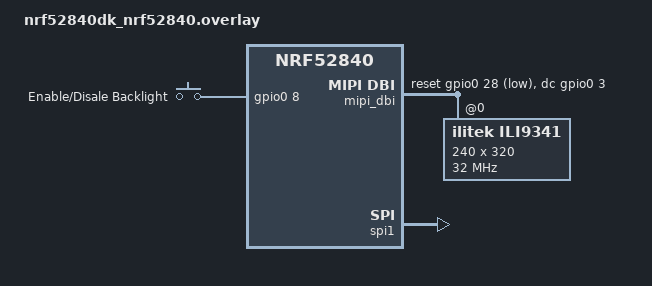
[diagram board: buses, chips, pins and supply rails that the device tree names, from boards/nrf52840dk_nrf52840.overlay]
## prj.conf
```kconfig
CONFIG_GPIO=y

CONFIG_LV_Z_SHELL=y
CONFIG_MAIN_STACK_SIZE=8048

CONFIG_DISPLAY=y
CONFIG_DISPLAY_LOG_LEVEL_ERR=y

CONFIG_LOG=y
CONFIG_SHELL=y

CONFIG_LVGL=y
CONFIG_LV_MEM_CUSTOM=y
CONFIG_LV_USE_LOG=y
CONFIG_LV_USE_LABEL=y
CONFIG_LV_USE_BTN=y
CONFIG_LV_USE_IMG=y
CONFIG_LV_FONT_MONTSERRAT_14=y

CONFIG_LV_Z_MEM_POOL_SIZE=16384

#RTT 
CONFIG_USE_SEGGER_RTT=y
CONFIG_RTT_CONSOLE=y
CONFIG_UART_CONSOLE=n

CONFIG_ILI9341=y

CONFIG_DEBUG_INFO=y

CONFIG_DEBUG=y
CONFIG_DEBUG_OPTIMIZATIONS=y

CONFIG_DEBUG_COREDUMP=y
CONFIG_DEBUG_COREDUMP_BACKEND_LOGGING=y
```

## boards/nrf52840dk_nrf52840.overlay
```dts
#include <zephyr/dt-bindings/mipi_dbi/mipi_dbi.h>
#include <zephyr/dt-bindings/display/ili9xxx.h>
#include <zephyr/dt-bindings/input/input-event-codes.h>

&spi1 {
    status = "okay";
    cs-gpios = <&gpio1 15 GPIO_ACTIVE_LOW>;
};




/{
    chosen{
        zephyr,display = &ili9341;
    };
	
	CUSTOM_PINS_PCB {
        compatible = "gpio-keys";
        backlight:backlight{
            gpios = <&gpio0 8 GPIO_ACTIVE_HIGH >;   /*GPIO PIN P0.08 */
            label = "Enable/Disale Backlight";
        };
        
    };

    
    mipi_dbi {
    compatible = "zephyr,mipi-dbi-spi";
    reset-gpios = <&gpio0 28 GPIO_ACTIVE_LOW>;
    dc-gpios = <&gpio0 3 GPIO_ACTIVE_HIGH>;
	// cmd-data-gpios = <&gpio0 3 GPIO_ACTIVE_LOW>; 


    spi-dev = <&spi1>;
    #address-cells = <1>;
    #size-cells = <0>;

    ili9341: ili9341@0 {
        compatible = "ilitek,ili9341";
        reg = <0>;
        mipi-max-frequency = <32000000>;
       
		// reset-gpios = <&gpio0 28 GPIO_ACTIVE_LOW>;
	
		width = <240>;
		height = <320>;
	
		// pixel-format = "rgb565";
		rotation = <0>;
		// display-inversion = <0>;
	
		ifmode = [40];
		ifctl = [01 00 00];
		pwctrla = [39 2c 00 34 02];
		pwctrlb = [00 8b 30];
		pwseqctrl = [55 01 23 01];
		timctrla = [84 11 7a];
		timctrlb = [00 00];
		pumpratioctrl = [10];
		enable3g = [02];
		etmod = [06];
		gamset = [01];
		frmctr1 = [00 1b];
		disctrl = [0a 82 27 04];
		pwctrl1 = [21];
		pwctrl2 = [10];
		vmctrl1 = [31 3c];
		vmctrl2 = [c0];
	
		pgamctrl = [
			0f 22 1f 0a 0e 06 4d 76 3b 03 0e 04 13 0e 0c
		];
		ngamctrl = [
			0c 23 26 04 10 04 39 24 4b 03 0b 0b 33 37 0f
		];
        status = "okay";
        };
    };
};



/* NCS: 2.5.0 */

// /{
//     chosen{
//         zephyr,display = &ili9341;
//     };
// };

// &spi1 {
//     status = "okay";
//     cs-gpios = <&gpio1 15 GPIO_ACTIVE_LOW>;

//     ili9341: ili9341@0 {
// 		compatible = "ilitek,ili9341";
// 		reg = <0>;
// 		spi-max-frequency = <10000000>;
// 		label = "ILI9341";
	
// 		reset-gpios = <&gpio0 28 GPIO_ACTIVE_LOW>;
// 		cmd-data-gpios = <&gpio0 3 GPIO_ACTIVE_LOW>;
	
// 		width = <240>;
// 		height = <320>;
	
// 		// pixel-format = "rgb565";
// 		rotation = <0>;
// 		// display-inversion = <0>;
	
// 		ifmode = [40];
// 		ifctl = [01 00 00];
// 		pwctrla = [39 2c 00 34 02];
// 		pwctrlb = [00 8b 30];
// 		pwseqctrl = [55 01 23 01];
// 		timctrla = [84 11 7a];
// 		timctrlb = [00 00];
// 		pumpratioctrl = [10];
// 		enable3g = [02];
// 		etmod = [06];
// 		gamset = [01];
// 		frmctr1 = [00 1b];
// 		disctrl = [0a 82 27 04];
// 		pwctrl1 = [21];
// 		pwctrl2 = [10];
// 		vmctrl1 = [31 3c];
// 		vmctrl2 = [c0];
	
// 		pgamctrl = [
// 			0f 22 1f 0a 0e 06 4d 76 3b 03 0e 04 13 0e 0c
// 		];
// 		ngamctrl = [
// 			0c 23 26 04 10 04 39 24 4b 03 0b 0b 33 37 0f
// 		];
// 	};
// };

&pinctrl {
	spi1_default: spi1_default {
		group1 {
			psels = <NRF_PSEL(SPIM_SCK, 0, 31)>,
			        <NRF_PSEL(SPIM_MOSI, 0, 29)>,
			        <NRF_PSEL(SPIM_MISO, 0, 30)>;
		};
	};

	spi1_sleep: spi1_sleep {
		group1 {
			psels = <NRF_PSEL(SPIM_SCK, 0, 31)>,
			        <NRF_PSEL(SPIM_MOSI, 0, 29)>,
			        <NRF_PSEL(SPIM_MISO, 0, 30)>;
			low-power-enable;
		};
	};
};
```

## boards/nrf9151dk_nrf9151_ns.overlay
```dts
#include <zephyr/dt-bindings/mipi_dbi/mipi_dbi.h>
#include <zephyr/dt-bindings/display/ili9xxx.h>
#include <zephyr/dt-bindings/input/input-event-codes.h>





/{
    CUSTOM_PINS_PCB {
        compatible = "gpio-keys";
        backlight:backlight{
            gpios = <&gpio0 8 GPIO_ACTIVE_HIGH >;   /*GPIO PIN P0.08 */
            label = "Enable/Disale Backlight";
        };
        
    };
};


&spi1 {
    status = "okay";
    cs-gpios = <&gpio0 22 GPIO_ACTIVE_LOW>;  //pcb
    pinctrl-names = "default", "sleep";
    pinctrl-0 = <&spi1_default>;
    pinctrl-1 = <&spi1_sleep>;
};





/{
    chosen{
        zephyr,display = &ili9341;
    };

    
    mipi_dbi {
    compatible = "zephyr,mipi-dbi-spi";
    reset-gpios = <&gpio0 7 GPIO_ACTIVE_LOW>;  //pcb
    dc-gpios = <&gpio0 23 GPIO_ACTIVE_HIGH>;  //pcb


    spi-dev = <&spi1>;
    #address-cells = <1>;
    #size-cells = <0>;

    ili9341: ili9341@0 {
        compatible = "ilitek,ili9341";
        reg = <0>;
        mipi-max-frequency = <32000000>;
	
		width = <240>;
		height = <320>;
	
		// pixel-format = "rgb565";
		rotation = <0>;
		// display-inversion = <0>;
	
		ifmode = [40];
		ifctl = [01 00 00];
		pwctrla = [39 2c 00 34 02];
		pwctrlb = [00 8b 30];
		pwseqctrl = [55 01 23 01];
		timctrla = [84 11 7a];
		timctrlb = [00 00];
		pumpratioctrl = [10];
		enable3g = [02];
		etmod = [06];
		gamset = [01];
		frmctr1 = [00 1b];
		disctrl = [0a 82 27 04];
		pwctrl1 = [21];
		pwctrl2 = [10];
		vmctrl1 = [31 3c];
		vmctrl2 = [c0];
	
		pgamctrl = [
			0f 22 1f 0a 0e 06 4d 76 3b 03 0e 04 13 0e 0c
		];
		ngamctrl = [
			0c 23 26 04 10 04 39 24 4b 03 0b 0b 33 37 0f
		];
        status = "okay";
        };
    };
};



&pinctrl {
	spi1_default: spi1_default {
		group1 {
			psels = <NRF_PSEL(SPIM_SCK, 0, 20)>,
			        <NRF_PSEL(SPIM_MOSI, 0, 3)>,
			        <NRF_PSEL(SPIM_MISO, 0, 21)>;
		};
	};

	spi1_sleep: spi1_sleep {
		group1 {
			psels = <NRF_PSEL(SPIM_SCK, 0, 20)>,
			        <NRF_PSEL(SPIM_MOSI, 0, 3)>,
			        <NRF_PSEL(SPIM_MISO, 0, 21)>;
			low-power-enable;
		};
	};
};
```

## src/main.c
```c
#include <zephyr/kernel.h>
#include <zephyr/device.h>
#include <zephyr/devicetree.h>
#include <zephyr/drivers/display.h>
#include <lvgl.h>

#define SLEEP_TIME_MS 10

void main(void) {
    const struct device *display_dev;

    display_dev = DEVICE_DT_GET(DT_CHOSEN(zephyr_display));
    if (!device_is_ready(display_dev)) {
        printk("Display device not ready\n");
        return;
    }
    printk("Display ready...\n");

    // Set screen background color
    // lv_obj_set_style_bg_color(lv_scr_act(), lv_color_white(), LV_PART_MAIN);
    // lv_obj_set_style_bg_opa(lv_scr_act(), LV_OPA_COVER, LV_PART_MAIN);

    lv_obj_set_style_bg_color(lv_scr_act(), lv_color_hex(0x3366FF), LV_PART_MAIN);
    lv_obj_set_style_bg_opa(lv_scr_act(), LV_OPA_COVER, LV_PART_MAIN);


    // Create a label with custom style
    static lv_style_t style;
    lv_style_init(&style);

    lv_style_set_text_font(&style, &lv_font_montserrat_28);
    lv_style_set_text_color(&style, lv_color_black());

    lv_style_set_bg_color(&style, lv_color_hex(0x3366FF)); // Optional: label background
    lv_style_set_bg_opa(&style, LV_OPA_COVER);
    lv_style_set_pad_all(&style, 10);
    lv_style_set_radius(&style, 10);

    lv_obj_t *label = lv_label_create(lv_scr_act());
    lv_obj_add_style(label, &style, LV_PART_MAIN);
    lv_label_set_text(label, "Hello Display!");
    lv_obj_align(label, LV_ALIGN_CENTER, 0, 0);

    // Refresh LVGL and unblank the display
    lv_task_handler();
    display_blanking_off(display_dev);

    while (1) {
        lv_timer_handler();
        k_msleep(SLEEP_TIME_MS);
    }
}
```
